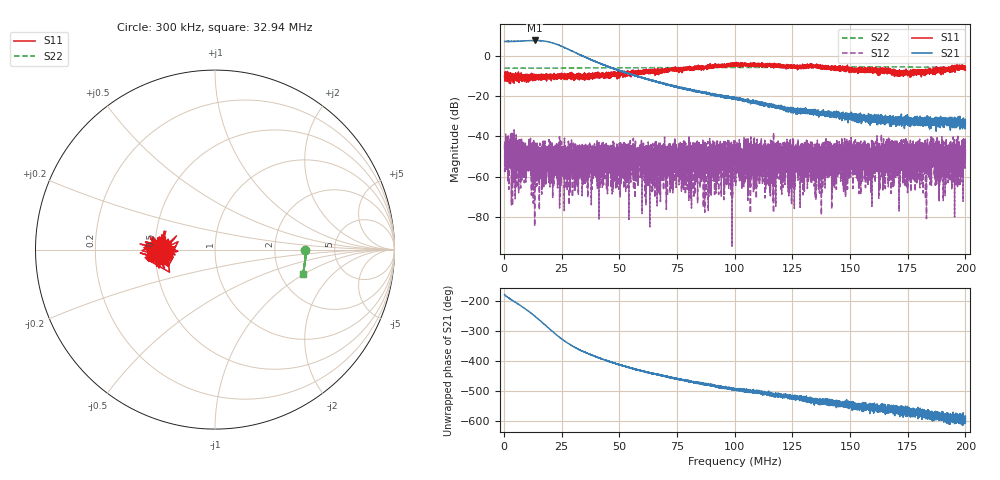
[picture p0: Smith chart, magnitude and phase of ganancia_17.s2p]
# Hz S DB R 50
! CMT, M5065, 19127446, 24.2.4/2
! Date: 10/29/2024 12:11:46 PM
! Data: Format (Calibration Info)
! Freq	S11:dB/Ang(F2)	S21:dB/Ang(F2)	S12:dB/Ang(F2)	S22:dB/Ang(F2)
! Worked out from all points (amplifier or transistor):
!   9000 points, 300 kHz to 200 MHz, reference 50 ohm
!   highest |S21| = 7.9 dB at 13.37 MHz (marker M1)
!   |S21| within 3 dB of that: start of sweep to 25.17 MHz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
!   unconditionally stable (mu >= 1): start of sweep to end of sweep
!   at 33.59 MHz: K = 376.98, MAG = 2.1 dB, |S12| = -61.4 dB
!   at 100.2 MHz: K = 1102.25, MAG = -17.1 dB, |S12| = -54.0 dB
!   at 200 MHz: K = 2747.19, MAG = -31.6 dB, |S12| = -45.6 dB
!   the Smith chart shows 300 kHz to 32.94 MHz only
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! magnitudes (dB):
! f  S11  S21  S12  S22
! 300 kHz  -10.4  7.4  -46.4  -6.0
! 13.37 MHz  -9.8  7.9  -59.5  -5.9
! 33.59 MHz  -10.2  0.4  -61.4  -5.9
! 47.86 MHz  -7.6  -6.3  -57.2  -5.8
! 55.18 MHz  -7.7  -9.2  -44.9  -5.7
! 57.15 MHz  -7.5  -9.8  -50.2  -5.7
! 59.68 MHz  -8.8  -10.7  -44.2  -5.7
! 66.87 MHz  -7.2  -12.9  -45.5  -5.7
! 100.2 MHz  -3.3  -21.2  -54.0  -5.6
! 102.9 MHz  -3.3  -21.6  -50.0  -5.6
! 104.7 MHz  -3.9  -22.5  -51.4  -5.6
! 115.9 MHz  -4.1  -25.1  -51.0  -5.5
! 133.4 MHz  -4.4  -27.2  -49.9  -5.4
! 137.6 MHz  -4.8  -29.1  -49.5  -5.3
! 141 MHz  -6.1  -28.4  -52.5  -5.3
! 142.9 MHz  -5.8  -28.8  -60.2  -5.3
! 151 MHz  -6.4  -30.5  -46.0  -5.3
! 154.5 MHz  -6.9  -29.9  -50.0  -5.2
! 163.7 MHz  -7.2  -31.6  -54.0  -5.3
! 166.7 MHz  -7.4  -32.0  -44.3  -5.3
! 194.4 MHz  -6.0  -32.5  -44.1  -5.5
! 200 MHz  -6.9  -34.0  -45.6  -5.5
